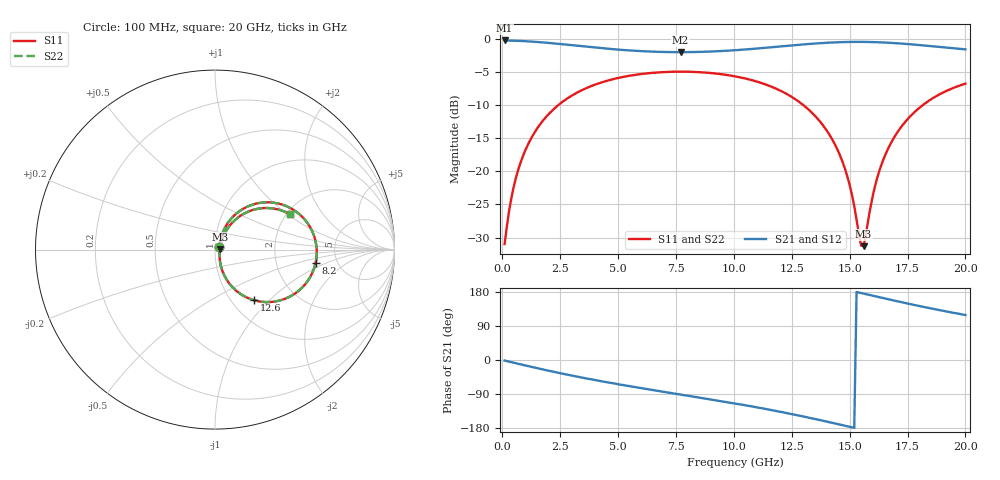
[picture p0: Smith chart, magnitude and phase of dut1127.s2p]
! Touchstone file exported from HFSS 2026.1.0
!  File:  C:/ffzhzh/LocalFiles/Ansys_Project_Files/temp_train_TSV_RDL_1127_1783307150_38704.aedt
!  Generated:  11:19:59 AM Jul  6, 2026
!  Design:  TSV_RDL
!  Project:  temp_train_TSV_RDL_1127_1783307150_38704
! Variables:
!  h_bsmrdl = 5.06um
!  h_ox = 20um
!  h_rdl = 5um
!  h_sub = 77.13um
!  h_tmrdl = 5.54um
!  h_tsv = 77.13um
!  h_via = 3um
!  l_bsmrdl = 428.51um
!  l_sub = 4000.58um
!  l_tmrdl = 542.62um
!  m_sub = 200um
!  pitch = 54.38um
!  r_tsv = 2.02um
!  s_tmrdl = 10um
!  w_bsmrdl = 19.5um
!  w_sub = 500um
!  w_tmrdl = 28.69um
!  x_tsv_center1 = 556.965um
!  x_tsv_center2 = 1004.975um
!  x_tsv_center3 = 1576.285um
!  x_tsv_center4 = 2024.295um
!  x_tsv_center5 = 2595.605um
!  x_tsv_center6 = 3043.615um
# GHz S MA R 50.000000
! Terminal data exported
! Port[1] = TM_RDL1_1_T1
! Port[2] = TM_RDL5_1_T1
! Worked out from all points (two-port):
!   200 points, 100 MHz to 20 GHz, reference 50 ohm
!   highest |S21| = -0.21 dB at 100 MHz (marker M1); lowest = -2.0 dB at 7.7 GHz (marker M2)
!   |S21| within 3 dB of the highest: start of sweep to end of sweep
!   lowest |S11| = -31.3 dB at 15.6 GHz (marker M3), VSWR 1.06, Z = 52.8 + j0.339 ohm
!   |S11| at or under -10 dB: start of sweep to 2.412 GHz; 13.01 GHz to 18.15 GHz (5.142 GHz wide, 33 % of centre)
!   |S22| runs from -31.2 to -4.9 dB; largest |S21 - S12| = 2e-14
!   S11 on the Smith chart (normalised r, x): 100 MHz: 1.05, +0.03; 8.2 GHz: 3.43, -0.74; 12.6 GHz: 1.26, -0.82; 20 GHz: 2.07, +1.04
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0.1  0.02825 31.6  0.9762 -1.5  0.9762 -1.5  0.02825 31.6
! Gamma 0 0 0 0
! Port Impedance 50 0 50 0
0.3  0.05103 56.5  0.9742 -4.4  0.9742 -4.4  0.05103 56.5
0.5  0.07733 63.5  0.972 -7.3  0.972 -7.3  0.07733 63.5
1.2  0.1716 63.9  0.9591 -17.3  0.9591 -17.3  0.1716 63.9
2.2  0.2934 53.7  0.9284 -30.9  0.9284 -30.9  0.2934 53.7
3.5  0.416 39.0  0.8805 -47.1  0.8805 -47.1  0.416 39.0
5.2  0.5168 21.1  0.8275 -66.0  0.8275 -66.0  0.5168 21.1
6.8  0.5609 5.6  0.8003 -82.2  0.8003 -82.2  0.5609 5.7
7.7  0.5673 -2.8  0.7963 -91.0  0.7963 -91.0  0.5673 -2.8
8.2  0.5654 -7.5  0.7976 -95.9  0.7976 -95.9  0.5654 -7.5
10.1  0.5209 -25.8  0.8248 -115.2  0.8248 -115.2  0.5209 -25.8
12.6  0.3564 -52.4  0.8986 -143.9  0.8986 -143.9  0.3564 -52.3
13.4  0.2747 -61.1  0.9226 -154.3  0.9226 -154.3  0.2747 -61.1
14.1  0.1929 -68.0  0.9394 -163.7  0.9394 -163.7  0.1929 -67.9
14.7  0.1174 -70.9  0.9488 -172.0  0.9488 -172.0  0.1174 -70.8
15.1  0.06669 -66.1  0.952 -177.7  0.952 -177.7  0.0668 -65.9
15.5  0.0275 -20.4  0.9524 176.7  0.9524 176.7  0.02775 -20.3
15.6  0.02723 6.8  0.9521 175.3  0.9521 175.3  0.02747 6.6
16.1  0.07783 56.8  0.948 168.2  0.948 168.2  0.07792 56.7
16.7  0.1532 58.7  0.9379 159.9  0.9379 159.9  0.1532 58.6
18  0.3011 46.8  0.9017 142.6  0.9017 142.6  0.3012 46.7
20  0.4605 25.4  0.8363 118.7  0.8363 118.7  0.4605 25.4
